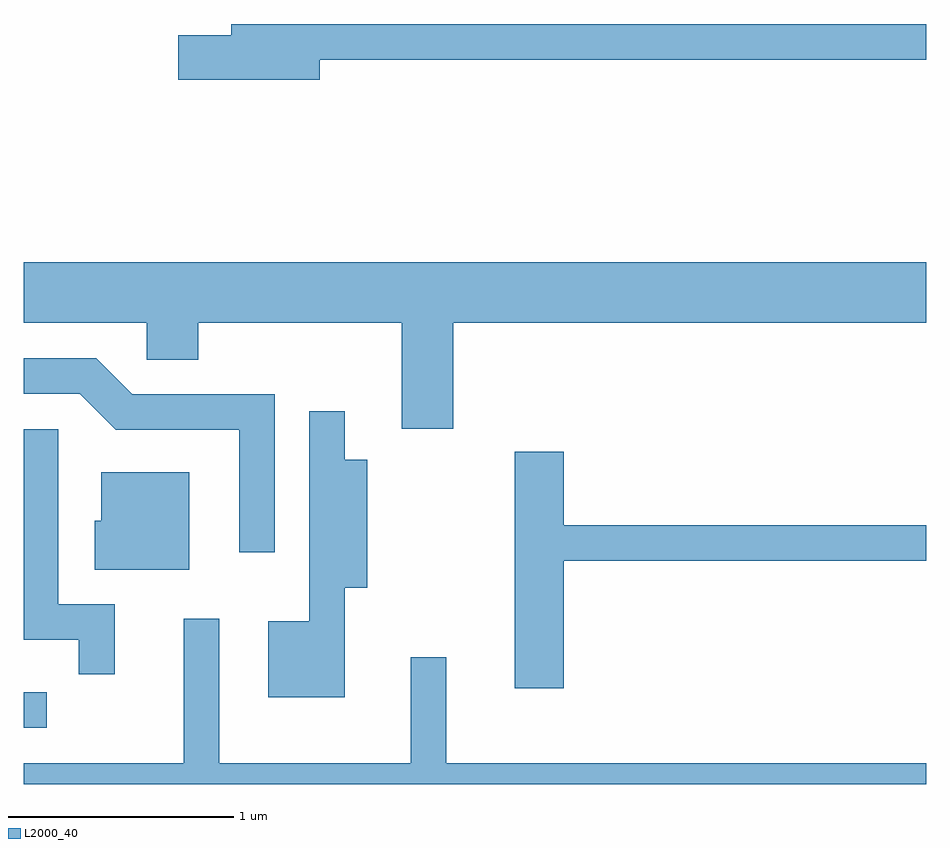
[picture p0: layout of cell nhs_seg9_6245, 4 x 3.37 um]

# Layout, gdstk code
import gdstk
lib = gdstk.Library(unit=1e-6, precision=1e-09)
def R(c, l, rs):  # rectangles x0, y0, x1, y1
    for r in rs: c.add(gdstk.rectangle(r[:2], r[2:], *l))
def P(c, l, *ps):  # polygons
    for p in ps: c.add(gdstk.Polygon(p, *l))
L2000_40 = (2000, 40)

nhs_seg9_6245 = lib.new_cell('nhs_seg9_6245')
R(nhs_seg9_6245, L2000_40, [(369.611,1996.681,369.713,1996.839)])
P(nhs_seg9_6245, L2000_40, [(370.924,1999.641),(373.611,1999.641),(373.611,1999.799),(370.531,1999.799),(370.531,1999.749),(370.296,1999.749),(370.296,1999.551),(370.924,1999.551)],
  [(371.514,1998.476),(373.611,1998.476),(373.611,1998.744),(369.611,1998.744),(369.611,1998.476),(370.156,1998.476),(370.156,1998.311),(370.384,1998.311),(370.384,1998.476),(371.286,1998.476),(371.286,1998.006),(371.514,1998.006)],
  [(370.724,1998.159),(370.092,1998.159),(369.932,1998.319),(369.611,1998.319),(369.611,1998.161),(369.859,1998.161),(370.019,1998.001),(370.566,1998.001),(370.566,1997.458),(370.724,1997.458)],
  [(371.034,1997.301),(371.134,1997.301),(371.134,1997.869),(371.034,1997.869),(371.034,1998.083),(370.876,1998.083),(370.876,1997.154),(370.696,1997.154),(370.696,1996.816),(371.034,1996.816)],
  [(370.014,1997.229),(369.764,1997.229),(369.764,1998.004),(369.611,1998.004),(369.611,1997.071),(369.856,1997.071),(369.856,1996.918),(370.014,1996.918)],
  [(372.004,1997.421),(373.611,1997.421),(373.611,1997.579),(372.004,1997.579),(372.004,1997.904),(371.786,1997.904),(371.786,1996.856),(372.004,1996.856)],
  [(370.344,1997.814),(369.956,1997.814),(369.956,1997.599),(369.926,1997.599),(369.926,1997.381),(370.344,1997.381)],
  [(373.611,1996.524),(371.484,1996.524),(371.484,1996.993),(371.326,1996.993),(371.326,1996.524),(370.479,1996.524),(370.479,1997.163),(370.321,1997.163),(370.321,1996.524),(369.611,1996.524),(369.611,1996.432),(373.611,1996.432)])

lib.write_gds('nhs_seg9_6245.gds')
